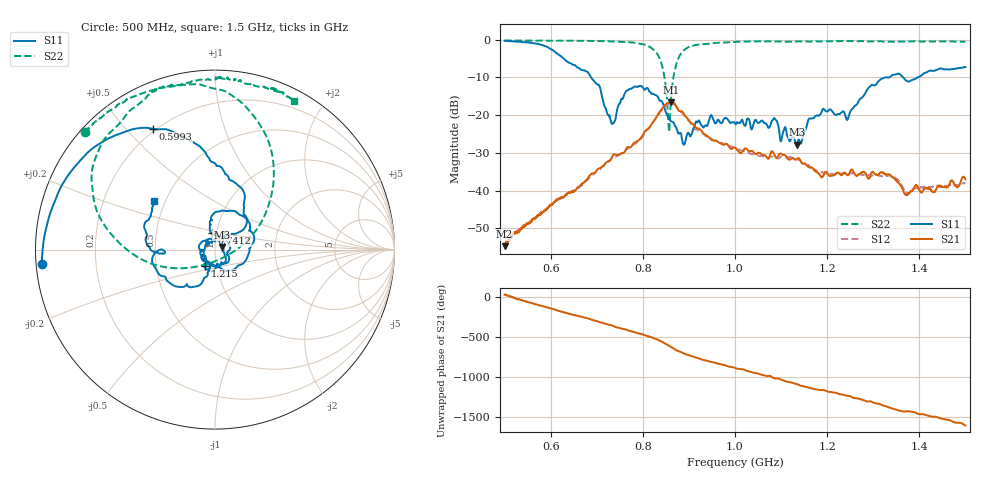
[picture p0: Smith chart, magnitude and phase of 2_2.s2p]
!Agilent Technologies,E8364B,US42250235,A.06.04.32
!Agilent E8364B: A.06.04.32
!Date: Thursday, October 01, 2020 14:27:59
!Correction: S11(Full 2 Port(1,2)) S21(Full 2 Port(1,2)) S12(Full 2 Port(1,2)) S22(Full 2 Port(1,2))
!S2P File: Measurements: S11, S21, S12, S22:
# Hz S  dB  R 50
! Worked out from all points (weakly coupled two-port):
!   2650 points, 500 MHz to 1.5 GHz, reference 50 ohm
!   highest |S21| = -16.59 dB at 862 MHz (marker M1); lowest = -54.7 dB at 500 MHz (marker M2)
!   lowest |S11| = -27.8 dB at 1.135 GHz (marker M3), VSWR 1.08, Z = 53.9 + j1.63 ohm
!   |S11| at or under -10 dB: 687.7 MHz to 1.326 GHz (637.9 MHz wide, 63.4 % of centre); 1.330721 GHz to 1.333571 GHz (2.85 MHz wide, 0.214 % of centre); 1.365 GHz to 1.396 GHz (30.45 MHz wide, 2.21 % of centre)
!   |S22| runs from -24.4 to -0.2 dB; largest |S21 - S12| = 0.007
!   S11 on the Smith chart (normalised r, x): 500 MHz: 0.02, -0.04; 599.3 MHz: 0.19, +0.59; 741.2 MHz: 0.95, +0.17; 1.215 GHz: 0.89, -0.16; 1.5 GHz: 0.43, +0.29
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5e8  -0.27 -175.3  -54.68 26.2  -54.38 29.2  -0.20 138.1
5.524726e8  -0.73 154.4  -48.64 -71.6  -48.50 -67.1  -0.22 132.1
5.992827e8  -2.42 117.3  -43.90 -145.0  -43.70 -143.1  -0.26 126.5
6.668554e8  -8.00 78.6  -38.29 110.2  -38.56 109.4  -0.26 120.5
7.412231e8  -20.68 101.8  -30.48 -18.0  -30.94 -16.6  -0.47 107.5
7.801057e8  -12.55 66.5  -27.40 -77.7  -27.72 -80.2  -0.75 94.2
8.337108e8  -15.39 -28.9  -19.60 -178.6  -20.02 -179.5  -4.25 58.6
8.454134e8  -17.41 -61.1  -17.75 147.4  -18.06 147.6  -8.86 37.0
8.552284e8  -20.50 -83.8  -16.79 114.8  -17.01 115.7  -21.85 -20.4
8.620234e8  -21.65 -101.9  -16.59 91.8  -16.75 92.1  -14.34 -147.6
8.718384e8  -23.16 -153.1  -17.45 56.4  -17.63 58.5  -6.86 -176.5
8.89581e8  -27.81 114.6  -19.75 12.3  -19.98 12.8  -2.74 157.8
9.186485e8  -21.87 19.1  -23.56 -42.2  -23.96 -40.8  -1.30 137.7
1.000189e9  -22.27 -118.3  -28.54 -166.7  -28.57 -165.8  -0.56 113.4
1.086636e9  -20.97 160.7  -30.73 64.4  -30.96 69.5  -0.48 105.5
1.134579e9  -27.83 21.8  -31.61 -7.2  -31.68 -8.2  -0.45 97.5
1.166667e9  -20.83 -66.8  -33.85 -59.5  -33.82 -59.7  -0.47 92.8
1.215364e9  -19.68 -120.7  -35.83 -112.1  -35.56 -117.6  -0.36 88.4
1.244432e9  -21.09 -111.8  -35.87 -153.4  -35.38 -159.0  -0.34 88.4
1.333522e9  -10.00 -151.4  -35.66 66.0  -35.97 63.5  -0.49 77.6
1.372405e9  -10.87 -179.0  -41.12 14.6  -40.52 3.7  -0.45 70.9
1.5e9  -7.24 141.5  -36.91 -161.2  -37.99 -170.0  -0.54 61.9
